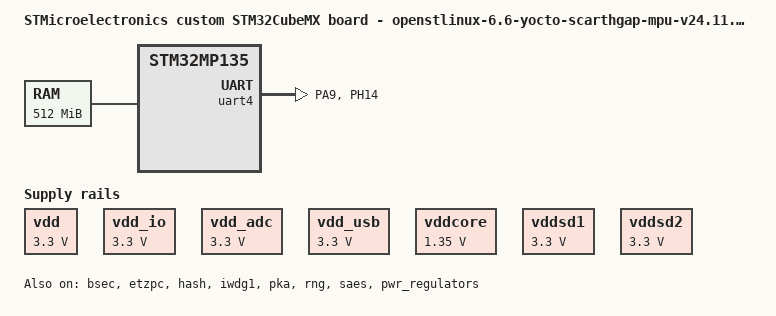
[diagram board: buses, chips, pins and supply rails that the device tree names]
// SPDX-License-Identifier: (GPL-2.0-or-later OR BSD-3-Clause)
/*
 * Copyright (C) 2026, STMicroelectronics - All Rights Reserved
 * Author: STM32CubeMX code generation for STMicroelectronics.
 */

/* For more information on Device Tree configuration, please refer to
 * https://wiki.st.com/stm32mpu/wiki/Category:Device_tree_configuration
 */

/dts-v1/;

#include <dt-bindings/pinctrl/stm32-pinfunc.h>
#include <dt-bindings/clock/stm32mp13-clksrc.h>
#include <dt-bindings/soc/stm32mp13-etzpc.h>
#include "stm32mp135.dtsi"
#include "stm32mp13xf.dtsi"

/* USER CODE BEGIN includes */
#include <dt-bindings/gpio/gpio.h>
#include <dt-bindings/gpio/stm32mp_gpio.h>
#include <dt-bindings/soc/stm32mp-provisioning.h>
#include <dt-bindings/soc/stm32mp-tzc400-macro.h>
#include <dt-bindings/soc/stm32mp13-tzc400.h>
#include <dt-bindings/tamper/st,stm32mp13-tamp.h>
#include "stm32mp13-pinctrl.dtsi"
/* USER CODE END includes */

/ {
	model = "STMicroelectronics custom STM32CubeMX board - openstlinux-6.6-yocto-scarthgap-mpu-v24.11.06";
	compatible = "st,stm32mp135f-lty-mx", "st,stm32mp135";

	memory@c0000000 {
		device_type = "memory";
		reg = <0xc0000000 0x20000000>;

		/* USER CODE BEGIN memory */
		/* USER CODE END memory */
	};

	reserved-memory {
		#address-cells = <1>;
		#size-cells = <1>;
		ranges;

		/* USER CODE BEGIN reserved-memory */
//		optee_framebuffer: optee-framebuffer@dd000000{
//			reg = <0xdd000000 0x1000000>;
//			st,protreg = <TZC_REGION_S_RDWR 0>;
//		};

	    optee_memory: optee@de000000 {
	        reg = <0xde000000 0x02000000>;
	        no-map;
	        st,protreg = <TZC_REGION_S_RDWR 0>;
	    };
	    
//		optee@de000000 {
//		    reg = <0xde000000 0x02000000>;  // 32MB
//		    no-map;
//		};
		
		/* USER CODE END reserved-memory */
	};

	/* USER CODE BEGIN root */

	vdd: vdd {
	    compatible = "regulator-fixed";
	    regulator-name = "vdd";
	    regulator-min-microvolt = <3300000>;
	    regulator-max-microvolt = <3300000>;
	    regulator-always-on;
	};

    vdd_io: vdd_io {
        compatible = "regulator-fixed";
        regulator-name = "vdd_io";
        regulator-min-microvolt = <3300000>;
        regulator-max-microvolt = <3300000>;
        regulator-always-on;
    };
    
	vdd_adc: vdd_adc {
	    compatible = "regulator-fixed";
	    regulator-name = "vdd_adc";
	    regulator-min-microvolt = <3300000>;
	    regulator-max-microvolt = <3300000>;
	    regulator-always-on;
	};

	vdd_usb: vdd_usb {
	    compatible = "regulator-fixed";
	    regulator-name = "vdd_usb";
	    regulator-min-microvolt = <3300000>;
	    regulator-max-microvolt = <3300000>;
	    regulator-always-on;
	};
	
	vddcore: regulator-vddcore {
		compatible = "regulator-fixed";
		regulator-name = "vddcore";

		regulator-min-microvolt = <1350000>;
		regulator-max-microvolt = <1350000>;

		regulator-always-on;
	};
	
    vddsd1: vddsd1 {
        compatible = "regulator-fixed";
        regulator-name = "vddsd1";
        regulator-min-microvolt = <3300000>;
        regulator-max-microvolt = <3300000>;
        regulator-always-on;
    };

    vddsd2: vddsd2 {
        compatible = "regulator-fixed";
        regulator-name = "vddsd2";
        regulator-min-microvolt = <3300000>;
        regulator-max-microvolt = <3300000>;
        regulator-always-on;
    };
	
	/* USER CODE END root */

	clocks {
		/* USER CODE BEGIN clocks */
		/* USER CODE END clocks */

		clk_hsi: clk-hsi {
			clock-frequency = <64000000>;

			/* USER CODE BEGIN clk_hsi */
			/* USER CODE END clk_hsi */
		};
		clk_lse: clk-lse {
			status = "disabled";

			/* USER CODE BEGIN clk_lse */
		    clock-frequency = <32768>;
			/* USER CODE END clk_lse */
		};
		clk_hse: clk-hse {
			clock-frequency = <24000000>;

			/* USER CODE BEGIN clk_hse */
			/* USER CODE END clk_hse */
		};
		clk_i2sin: clk-i2sin {
			status = "disabled";

			/* USER CODE BEGIN clk_i2sin */
			/* USER CODE END clk_i2sin */
		};
	};

}; /*root*/

/*Warning: the configuration of the secured GPIOs should be added in (addons) User Section*/
&pinctrl {
	/* USER CODE BEGIN pinctrl */
	uart4_pins_mx: uart4_mx-0 {
		pins1 {
			pinmux = <STM32_PINMUX('A', 9, AF8)>; /* UART4_TX */
			bias-disable;
			drive-push-pull;
			slew-rate = <0>;
		};
		pins2 {
			pinmux = <STM32_PINMUX('H', 14, AF8)>; /* UART4_RX */
			bias-disable;
		};
	};	
	/* USER CODE END pinctrl */
};

&bsec {
	status = "okay";

	/* USER CODE BEGIN bsec */
	/* USER CODE END bsec */
};

&etzpc {
	status = "okay";
	st,decprot = <
	/*"NS_R S_W" peripherals*/
	DECPROT(STM32MP1_ETZPC_DDRCTRLPHY_ID, DECPROT_NS_R_S_W, DECPROT_LOCK)
	/*"Secured" peripherals*/
	DECPROT(STM32MP1_ETZPC_HASH_ID, DECPROT_S_RW, DECPROT_UNLOCK)
	DECPROT(STM32MP1_ETZPC_IWDG1_ID, DECPROT_S_RW, DECPROT_UNLOCK)
	DECPROT(STM32MP1_ETZPC_PKA_ID, DECPROT_S_RW, DECPROT_UNLOCK)
	DECPROT(STM32MP1_ETZPC_SAES_ID, DECPROT_S_RW, DECPROT_UNLOCK)
	DECPROT(STM32MP1_ETZPC_STGENC_ID, DECPROT_S_RW, DECPROT_UNLOCK)

	/*Restriction: following IDs are not managed  - please to use User-Section if needed:
		  STM32MP1_ETZPC_SRAMx_ID  STM32MP1_ETZPC_BKPSRAM_ID*/

	/* USER CODE BEGIN etzpc_decprot */
		/*STM32CubeMX generates a basic and standard configuration for ETZPC.
		Additional device configurations can be added here if needed.
		"etzpc" node could be also overloaded in "addons" User-Section.*/
	/* USER CODE END etzpc_decprot */
	DECPROT(STM32MP1_ETZPC_SDMMC1_ID, DECPROT_NS_RW, DECPROT_UNLOCK)
	DECPROT(STM32MP1_ETZPC_RNG_ID, DECPROT_S_RW, DECPROT_UNLOCK)
	>;

	/* USER CODE BEGIN etzpc */
	/* USER CODE END etzpc */
};

&hash {
	status = "okay";

	/* USER CODE BEGIN hash */
	/* USER CODE END hash */
};

&iwdg1 {
	status = "okay";

	/* USER CODE BEGIN iwdg1 */
	timeout-sec = <32>;
	/* USER CODE END iwdg1 */
};

&pka {
	status = "okay";

	/* USER CODE BEGIN pka */
	/* USER CODE END pka */
};

&rcc {
	status = "okay";
	clocks = <&clk_hse>, <&clk_hsi>, <&clk_lsi>, <&clk_csi>;
	clock-names = "clk-hse", "clk-hsi", "clk-lsi", "clk-csi";

	/* USER CODE BEGIN rcc */
	/* USER CODE END rcc */

	st,clksrc = <
		CLK_MPU_PLL1P
		CLK_AXI_PLL2P
		CLK_MLAHBS_PLL3
		CLK_RTC_LSI
		CLK_MCO1_DISABLED
		CLK_MCO2_DISABLED
		CLK_CKPER_DISABLED
		CLK_STGEN_HSE
		CLK_RNG1_PLL4R
		CLK_SAES_AXI
	>;
	st,clkdiv = <
		DIV(DIV_MPU, 1)
		DIV(DIV_AXI, 0)
		DIV(DIV_MLAHB, 0)
		DIV(DIV_APB1, 1)
		DIV(DIV_APB2, 1)
		DIV(DIV_APB3, 1)
		DIV(DIV_APB4, 1)
		DIV(DIV_APB5, 2)
		DIV(DIV_APB6, 1)
		DIV(DIV_RTC, 0)
		DIV(DIV_MCO1, 0)
		DIV(DIV_MCO2, 0)
	>;
	st,pll_vco {
		pll1_vco_1296Mhz: pll1-vco-1296Mhz {
			src = < CLK_PLL12_HSE >;
			divmn = < 1 53 >;
		};
		pll2_vco_1056Mhz: pll2-vco-1056Mhz {
			src = < CLK_PLL12_HSE >;
			divmn = < 1 43 >;
		};
		pll3_vco_408Mhz: pll3-vco-408Mhz {
			src = < CLK_PLL3_HSE >;
			divmn = < 1 33 >;
		};
		pll4_vco_420Mhz: pll4-vco-420Mhz {
			src = < CLK_PLL4_HSE >;
			divmn = < 3 69 >;
		};
		/* USER CODE BEGIN rcc_st-pll_vco */
		/* USER CODE END rcc_st-pll_vco */
	};

	pll1:st,pll@0 {
		compatible = "st,stm32mp1-pll";
		reg = <0>;

		st,pll = < &pll1_cfg1 >;

		pll1_cfg1: pll1_cfg1 {
			st,pll_vco = < &pll1_vco_1296Mhz >;
			st,pll_div_pqr = < 0 1 1 >;
		};
		/* USER CODE BEGIN pll1 */
		/* USER CODE END pll1 */
	};

	pll2:st,pll@1 {
		compatible = "st,stm32mp1-pll";
		reg = <1>;

		st,pll = < &pll2_cfg1 >;

		pll2_cfg1: pll2_cfg1 {
			st,pll_vco = < &pll2_vco_1056Mhz >;
			st,pll_div_pqr = < 1 1 0 >;
		};
		/* USER CODE BEGIN pll2 */
		/* USER CODE END pll2 */
	};

	pll3:st,pll@2 {
		compatible = "st,stm32mp1-pll";
		reg = <2>;

		st,pll = < &pll3_cfg1 >;

		pll3_cfg1: pll3_cfg1 {
			st,pll_vco = < &pll3_vco_408Mhz >;
			st,pll_div_pqr = < 1 1 1 >;
		};
		/* USER CODE BEGIN pll3 */
		/* USER CODE END pll3 */
	};

	pll4:st,pll@3 {
		compatible = "st,stm32mp1-pll";
		reg = <3>;

		st,pll = < &pll4_cfg1 >;

		pll4_cfg1: pll4_cfg1 {
			st,pll_vco = < &pll4_vco_420Mhz >;
			st,pll_div_pqr = < 7 1 1 >;
		};
		/* USER CODE BEGIN pll4 */
		/* USER CODE END pll4 */
	};

	st,clk_opp {
		/* CK_MPU clock config for MP13 */
		st,ck_mpu {

			cfg_1 {
				hz = < 648000000 >;
				st,clksrc = < CLK_MPU_PLL1P >;
				st,pll = < &pll1_cfg1 >;
				st,opp-default;
			};
			/* USER CODE BEGIN rcc_st-ck_mpu */
			// add st,opp-default into cfg_1
			/*
			cfg_1 {
				hz = < 648000000 >;
				st,clksrc = < CLK_MPU_PLL1P >;
				st,pll = < &pll1_cfg1 >;
				st,opp-default;
			};
			 */
			/* USER CODE END rcc_st-ck_mpu */
		};

		/* CK_AXI clock config for MP13 */
		st,ck_axi {

			cfg_1 {
				hz = < 264000000 >;
				st,clksrc = < CLK_AXI_PLL2P >;
				st,clkdiv = < DIV(DIV_AXI, 0) >;
				st,pll = < &pll2_cfg1 >;
			};
			/* USER CODE BEGIN rcc_st-ck_axi */
			/* USER CODE END rcc_st-ck_axi */
		};

		/* CK_MLAHBS clock config for MP13 */
		st,ck_mlahbs {

			cfg_1 {
				hz = < 204000000 >;
				st,clksrc = < CLK_MLAHBS_PLL3 >;
				st,clkdiv = < DIV(DIV_MLAHB, 0) >;
				st,pll = < &pll3_cfg1 >;
			};

			/* USER CODE BEGIN rcc_st-ck_mlahbs */
			/* USER CODE END rcc_st-ck_mlahbs */
		};
	};

	/* USER CODE BEGIN rcc */
	/* USER CODE END rcc */
};

&rng {
	status = "okay";

	/* USER CODE BEGIN rng */
	clock-error-detect;
	/* USER CODE END rng */
};

&saes {
	status = "okay";

	/* USER CODE BEGIN saes */
	/* USER CODE END saes */
};

/* USER CODE BEGIN addons */
&pwr_regulators {
    status = "okay";
    vdd-supply = <&vdd>;
    vdd_3v3_usbfs-supply = <&vdd_usb>;
};

&cpu0 {
	cpu-supply = <&vddcore>;
};

&sdmmc1_io {
    vddsd1-supply = <&vddsd1>;
};

&sdmmc2_io {
    vddsd2-supply = <&vddsd2>;
};

//&tzc400 {
//	memory-region = <&optee_framebuffer>;
//};

&uart4 {
    pinctrl-names = "default";
    pinctrl-0 = <&uart4_pins_mx>;
    status = "okay";
};

// uart for linux and uboot
//&gpioa {
//	st,protreg = < (TZPROT(9)) >;
//};
//
//&gpioh {
//	st,protreg = < (TZPROT(14)) >;
//};
/* USER CODE END addons */

